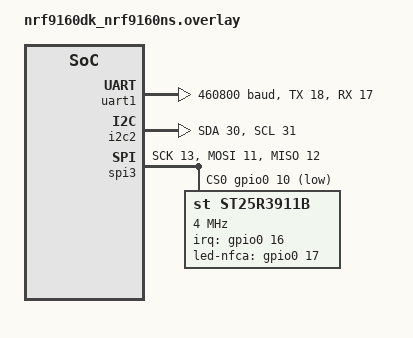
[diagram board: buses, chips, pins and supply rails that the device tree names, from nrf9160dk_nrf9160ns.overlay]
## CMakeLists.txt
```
cmake_minimum_required(VERSION 3.13.1)

find_package(Zephyr REQUIRED HINTS $ENV{ZEPHYR_BASE})
project(NONE)

target_sources(app PRIVATE
	src/main.c
	src/gw_nfc.c
	src/gw_display_shield.c
	src/gw_display_mcp23017.c
	../common/slip.c
	../common/mqtt_serial.c
	../common/uart_simple.c)

target_include_directories(app PRIVATE include
	../common)
```

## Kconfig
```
menu "BTM gateway"

config MQTT_USER
	string "Broker username"

config MQTT_PW
	string "Broker password"

config MQTT_PUB_TOPIC
	string "Gateway publishing topic"

config MQTT_SUB_TOPIC
	string "Gateway subscription topic"

config MQTT_CLIENT_ID
	string "Client ID of the gateway"

config MQTT_BROKER_HOSTNAME
	string "Broker hostname"

config MQTT_BROKER_PORT
	int "Broker port"

config MQTT_MESSAGE_BUFFER_SIZE
	int "MQTT message buffer size"
	default 128

config MQTT_PAYLOAD_BUFFER_SIZE
	int "MQTT payload buffer size"
	default 128

config MQTT_TLS_SEC_TAG
	int "TLS credentials security tag"
	default 24

config MQTT_TLS_SESSION_CACHING
	bool "Enable TLS session caching"

config MQTT_TLS_PEER_VERIFY
	int "Set peer verification level"
	default 2
	help
		Set to 0 for VERIFY_NONE, 1 for VERIFY_OPTIONAL, and 2 for
		VERIFY_REQUIRED.

endmenu

menu "Zephyr Kernel"
source "Kconfig.zephyr"
endmenu
```

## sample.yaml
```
sample:
  name: BTM gateway 9160
tests:
  samples.mesh.gateway.nrf9160:
    build_only: true
    build_on_all: true
    platform_whitelist: nrf9160dk_nrf9160ns
    tags: ci_build
```

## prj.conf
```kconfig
# Networking
CONFIG_NETWORKING=y
CONFIG_NET_NATIVE=n
CONFIG_NET_SOCKETS_OFFLOAD=y
CONFIG_NET_SOCKETS=y
CONFIG_NET_SOCKETS_POSIX_NAMES=y

# LTE link control
CONFIG_LTE_LINK_CONTROL=y
CONFIG_LTE_AUTO_INIT_AND_CONNECT=n

# BSD library
CONFIG_BSD_LIBRARY=y

# Display
CONFIG_I2C=y
CONFIG_I2C_2=y

# NFC
CONFIG_POLL=y
CONFIG_ASSERT=y
CONFIG_ASSERT_LEVEL=2
CONFIG_SPI=y
CONFIG_SPI_3=y
CONFIG_ST25R3911B_LIB=y
CONFIG_NFC_NDEF=y
CONFIG_NFC_NDEF_RECORD=y
CONFIG_NFC_NDEF_MSG=y
CONFIG_NFC_NDEF_PARSER=y
CONFIG_NFC_NDEF_LE_OOB_REC_PARSER=y
CONFIG_NFC_T2T_PARSER=y
CONFIG_NFC_T4T_HL_PROCEDURE=y
CONFIG_NFC_NDEF_CH_PARSER=y

# MQTT
CONFIG_MQTT_LIB=y
CONFIG_MQTT_LIB_TLS=y
CONFIG_MQTT_CLEAN_SESSION=y
CONFIG_MQTT_MESSAGE_BUFFER_SIZE=256
CONFIG_MQTT_PAYLOAD_BUFFER_SIZE=256
CONFIG_MQTT_PUB_TOPIC="anders/pub/"
CONFIG_MQTT_SUB_TOPIC="btm/set/#"
CONFIG_MQTT_CLIENT_ID="anders"
CONFIG_MQTT_BROKER_HOSTNAME="hairdresser.cloudmqtt.com"
CONFIG_MQTT_BROKER_PORT=25749
CONFIG_MQTT_USER="user1"
CONFIG_MQTT_PW="anders"

# Modem key management for provisioning certificates
CONFIG_MODEM_KEY_MGMT=y

# Memory
CONFIG_MAIN_STACK_SIZE=4096
CONFIG_HEAP_MEM_POOL_SIZE=2048

# UART to nrf52840
CONFIG_SERIAL=y
CONFIG_UART_ASYNC_API=y
CONFIG_UART_INTERRUPT_DRIVEN=y

CONFIG_NET_BUF=y
```

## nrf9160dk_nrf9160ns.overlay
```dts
&uart1 {
	compatible = "nordic,nrf-uarte";
	current-speed = <460800>;
	status = "okay";
	hw-flow-control;
	tx-pin = <18>;
	rx-pin = <17>;
	rts-pin = <21>;
	cts-pin = <19>;
};

&i2c2 {
	status = "okay";
	sda-pin = <30>;
	scl-pin = <31>;
};

&spi3 {
	status = "okay";
	sck-pin = <13>;
	mosi-pin = <11>;
	miso-pin = <12>;
	cs-gpios = <&gpio0 10 GPIO_ACTIVE_LOW>;

	st25r3911b@0 {
		label = "ST25R3911B";
		compatible = "st,st25r3911b";
		reg = <0>;
		spi-max-frequency = <4000000>;
		irq-gpios = <&gpio0 16 0>;
		led-nfca-gpios = <&gpio0 17 0>;
	};
};
```

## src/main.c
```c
#include <zephyr.h>
#include <stdio.h>
#include <string.h>
#include <random/rand32.h>
#include <net/mqtt.h>
#include <net/socket.h>
#include <modem/lte_lc.h>
#if defined(CONFIG_MODEM_KEY_MGMT)
#include <modem/modem_key_mgmt.h>
#endif
#if defined(CONFIG_LWM2M_CARRIER)
#include <lwm2m_carrier.h>
#endif
#include "uart_simple.h"
#include "mqtt_serial.h"
#include "prov_conf_common.h"
#include "gw_nfc.h"
#include "gw_display_shield.h"

#include "certificates.h"

/* Forward declarations */
void mqtt_serial_rx_callback(struct net_buf *get_buf);
void prov_conf_rx_callback(struct net_buf *get_buf);

/* Provisioning and configuration serial channel */
static struct uart_channel_ctx prov_conf_serial_chan = {
	.channel_id = 2,
	.rx_cb = prov_conf_rx_callback,
};
/* MQTT serial channel */
static struct uart_channel_ctx mqtt_serial_chan = {
	.channel_id = 1,
	.rx_cb = mqtt_serial_rx_callback,
};
/* MQTT RX thread stack */
static K_THREAD_STACK_DEFINE(mqtt_rx_thread_stack, 1536);
/* MQTT RX thread context */
static struct k_thread mqtt_rx_thread_ctx;
/* MQTT RX buffer */
static uint8_t rx_buffer[CONFIG_MQTT_MESSAGE_BUFFER_SIZE];
/* MQTT TX buffer */
static uint8_t tx_buffer[CONFIG_MQTT_MESSAGE_BUFFER_SIZE];
/* MQTT client context */
static uint8_t payload_buf[CONFIG_MQTT_PAYLOAD_BUFFER_SIZE];
/* MQTT client context */
static struct mqtt_client client;
/* MQTT broker context */
static struct sockaddr_storage broker;
/* MQTT file descriptor */
static struct pollfd fds;
/* MQTT broker user */
struct mqtt_utf8 user = {
	.utf8 = CONFIG_MQTT_USER,
	.size = sizeof(CONFIG_MQTT_USER) - 1,
};
/* MQTT broker password */
struct mqtt_utf8 password = {
	.utf8 = CONFIG_MQTT_PW,
	.size = sizeof(CONFIG_MQTT_PW) - 1,
};

static int certificates_provision(void)
{
	int err = modem_key_mgmt_write(CONFIG_MQTT_TLS_SEC_TAG,
				       MODEM_KEY_MGMT_CRED_TYPE_CA_CHAIN,
				       CA_CERTIFICATE, strlen(CA_CERTIFICATE));

	if (err) {
		printk("Failed to provision certificate, Err: %d\n", err);
	} else {
		printk("Sucessfully Provisioned the certificate\n");
	}

	return err;
}

static int mqtt_serial_publish(const struct mqtt_publish_param *param,
			       uint8_t *data, size_t len)
{
	struct mqtt_publish_param out_param;

	out_param.message.topic.qos = param->message.topic.qos;
	out_param.message_id = param->message_id;
	out_param.dup_flag = param->dup_flag;
	out_param.retain_flag = param->retain_flag;
	out_param.message.topic.topic.size = param->message.topic.topic.size;
	out_param.message.topic.topic.utf8 = param->message.topic.topic.utf8;
	out_param.message.payload.len = len;
	out_param.message.payload.data = data;

	uint8_t out_buf[256];
	uint16_t msg_len;
	int err = mqtt_serial_msg_encode(&out_param, out_buf, sizeof(out_buf),
					 &msg_len);

	if (!err) {
		uart_simple_send(&mqtt_serial_chan, out_buf, msg_len);
	}

	return 0;
}

static int publish_get_payload(struct mqtt_client *c, size_t length)
{
	uint8_t *buf = payload_buf;
	uint8_t *end = buf + length;

	if (length > sizeof(payload_buf)) {
		return -EMSGSIZE;
	}

	while (buf < end) {
		int ret = mqtt_read_publish_payload(c, buf, end - buf);

		if (ret < 0) {
			int err;

			if (ret != -EAGAIN) {
				return ret;
			}

			printk("Failed to read MQTT payload, Err: %d\n", ret);

			err = poll(&fds, 1,
				   CONFIG_MQTT_KEEPALIVE * MSEC_PER_SEC);
			if (err > 0 && (fds.revents & POLLIN) == POLLIN) {
				continue;
			} else {
				return -EIO;
			}
		}

		if (ret == 0) {
			return -EIO;
		}

		buf += ret;
	}

	return 0;
}

void mqtt_evt_handler(struct mqtt_client *const c, const struct mqtt_evt *evt)
{
	int err;

	switch (evt->type) {
	case MQTT_EVT_CONNACK: {
		if (evt->result == 0) {
			printk("MQTT client connected!\n");

			struct mqtt_topic subscribe_topic = {
				.topic = { .utf8 = CONFIG_MQTT_SUB_TOPIC,
					   .size = strlen(
						   CONFIG_MQTT_SUB_TOPIC) },
				.qos = MQTT_QOS_1_AT_LEAST_ONCE
			};
			const struct mqtt_subscription_list subscription_list = {
				.list = &subscribe_topic,
				.list_count = 1,
				.message_id = 1234
			};

			mqtt_subscribe(&client, &subscription_list);
		}

		break;
	}

	case MQTT_EVT_PUBLISH: {
		const struct mqtt_publish_param *p = &evt->param.publish;

		err = publish_get_payload(c, p->message.payload.len);
		if (err >= 0) {
			mqtt_serial_publish(p, payload_buf,
					    p->message.payload.len);
		} else {
			printk("Failed to retrive on-air MQTT paiload, Err: %d\n",
			       err);

			err = mqtt_disconnect(c);
			if (err) {
				printk("Could not disconnect, Err %d\n", err);
			} else {
				printk("Disconnected from the MQTT client\n");
			}
		}
		break;
	}

	case MQTT_EVT_DISCONNECT:
	case MQTT_EVT_PUBACK:
	case MQTT_EVT_SUBACK:
	case MQTT_EVT_PINGRESP:
	default:
		if (evt->result != 0) {
			printk("A failure occored during MQTT event handling\n");
		}
		break;
	}
}

static int broker_init(void)
{
	int err;
	struct addrinfo *result;
	struct addrinfo *addr;
	struct addrinfo hints = { .ai_family = AF_INET,
				  .ai_socktype = SOCK_STREAM };

	err = getaddrinfo(CONFIG_MQTT_BROKER_HOSTNAME, NULL, &hints, &result);
	if (err) {
		printk("Failed to get the address info, Err: %d\n", err);
		return -ECHILD;
	}

	addr = result;

	/* Look for address of the broker. */
	while (addr != NULL) {
		if (addr->ai_addrlen == sizeof(struct sockaddr_in)) {
			struct sockaddr_in *broker4 =
				((struct sockaddr_in *)&broker);
			char ipv4_addr[NET_IPV4_ADDR_LEN];

			broker4->sin_addr.s_addr =
				((struct sockaddr_in *)addr->ai_addr)
					->sin_addr.s_addr;
			broker4->sin_family = AF_INET;
			broker4->sin_port = htons(CONFIG_MQTT_BROKER_PORT);

			inet_ntop(AF_INET, &broker4->sin_addr.s_addr, ipv4_addr,
				  sizeof(ipv4_addr));
			printk("IPv4 Address found %s\n", ipv4_addr);
			break;
		} else {
			printk("ai_addrlen = %u should be %u or %u\n",
			       (unsigned int)addr->ai_addrlen,
			       (unsigned int)sizeof(struct sockaddr_in),
			       (unsigned int)sizeof(struct sockaddr_in6));
		}

		addr = addr->ai_next;
	}

	freeaddrinfo(result);

	return err;
}

static int client_init(struct mqtt_client *client)
{
	int err;

	mqtt_client_init(client);

	err = broker_init();
	if (err) {
		printk("Failed to initialize broker connection\n");
		return err;
	}

	/* MQTT client configuration */
	client->broker = &broker;
	client->evt_cb = mqtt_evt_handler;
	client->client_id.utf8 = (uint8_t *)CONFIG_MQTT_CLIENT_ID;
	client->client_id.size = strlen(CONFIG_MQTT_CLIENT_ID);
	client->password = &password;
	client->user_name = &user;
	client->protocol_version = MQTT_VERSION_3_1_1;

	/* MQTT buffers configuration */
	client->rx_buf = rx_buffer;
	client->rx_buf_size = sizeof(rx_buffer);
	client->tx_buf = tx_buffer;
	client->tx_buf_size = sizeof(tx_buffer);

	/* MQTT transport configuration */
	struct mqtt_sec_config *tls_cfg = &(client->transport).tls.config;
	static sec_tag_t sec_tag_list[] = { CONFIG_MQTT_TLS_SEC_TAG };

	client->transport.type = MQTT_TRANSPORT_SECURE;
	tls_cfg->peer_verify = CONFIG_MQTT_TLS_PEER_VERIFY;
	tls_cfg->cipher_count = 0;
	tls_cfg->cipher_list = NULL;
	tls_cfg->sec_tag_count = ARRAY_SIZE(sec_tag_list);
	tls_cfg->sec_tag_list = sec_tag_list;
	tls_cfg->hostname = CONFIG_MQTT_BROKER_HOSTNAME;
	tls_cfg->session_cache = IS_ENABLED(CONFIG_MQTT_TLS_SESSION_CACHING) ?
					 TLS_SESSION_CACHE_ENABLED :
					 TLS_SESSION_CACHE_DISABLED;

	return err;
}

static void fds_init(struct mqtt_client *c)
{
	fds.fd = c->transport.tls.sock;
	fds.events = POLLIN;
}

static void modem_configure(void)
{
	int err;

	err = lte_lc_init_and_connect();
	__ASSERT(err == 0, "LTE link could not be established.");
	printk("LTE Link Connected!\n");
}

static void mqtt_rx_thread(void *p1, void *p2, void *p3)
{
	int err = 0;
	while (1) {
		err = poll(&fds, 1, mqtt_keepalive_time_left(&client));
		if (err < 0) {
			printk("ERROR: poll %d\n", errno);
			break;
		}

		err = mqtt_live(&client);
		if ((err != 0) && (err != -EAGAIN)) {
			printk("ERROR: mqtt_live %d\n", err);
			break;
		}

		if ((fds.revents & POLLIN) == POLLIN) {
			err = mqtt_input(&client);
			if (err != 0) {
				printk("ERROR: mqtt_input %d\n", err);
				break;
			}
		}

		if ((fds.revents & POLLERR) == POLLERR) {
			printk("POLLERR\n");
			break;
		}

		if ((fds.revents & POLLNVAL) == POLLNVAL) {
			printk("POLLNVAL\n");
			break;
		}
		k_yield();
	}

	printk("Disconnecting MQTT client...\n");

	err = mqtt_disconnect(&client);
	if (err) {
		printk("Could not disconnect MQTT client. Error: %d\n", err);
	}
}

static void mqtt_rx_thread_create(void)
{
	k_thread_create(&mqtt_rx_thread_ctx, mqtt_rx_thread_stack,
			K_THREAD_STACK_SIZEOF(mqtt_rx_thread_stack),
			mqtt_rx_thread, NULL, NULL, NULL, K_PRIO_COOP(6), 0,
			K_NO_WAIT);
	k_thread_name_set(&mqtt_rx_thread_ctx, "MQTT RX");
}

void mqtt_serial_rx_callback(struct net_buf *get_buf)
{
	struct mqtt_publish_param param;

	mqtt_serial_msg_decode(get_buf, &param);
	mqtt_publish(&client, &param);
}

K_SEM_DEFINE(sem_gw_system_state, 0, 1);
K_SEM_DEFINE(sem_choose_room, 0, 1);
K_SEM_DEFINE(sem_prov_link_active, 0, 1);
K_SEM_DEFINE(sem_get_unprov_dev_num, 0, 1);
K_SEM_DEFINE(sem_device_added, 0, 1);
K_SEM_DEFINE(sem_get_model_info, 0, 1);

enum gw_system_states {
	s_start = 0,
	s_idle,
	s_blink_dev,
	s_prov_conf_dev,
	s_nfc_start,
	s_nfc_stop,
};

const struct room_info rooms[] = {
	[0] = { .name = "Living room   ", .group_addr = BASE_GROUP_ADDR },
	[1] = { .name = "Kitchen       ", .group_addr = BASE_GROUP_ADDR + 1 },
	[2] = { .name = "Bedroom       ", .group_addr = BASE_GROUP_ADDR + 2 },
	[3] = { .name = "Bathroom      ", .group_addr = BASE_GROUP_ADDR + 3 },
	[4] = { .name = "Hallway       ", .group_addr = BASE_GROUP_ADDR + 4 }
};

static int gw_system_state = s_start;
static bool take_sem = true;

static uint8_t curr_but_pressed;
static uint8_t nfc_uuid[16];
static bool uuid_from_nfc;
static bool update_unprov_devs;
static uint8_t chosen_dev;
static uint8_t room_iterator;
static bool room_chosen;
static bool prov_link_active;
static uint8_t unprov_dev_num;
static struct model_info mod_inf;

static struct k_delayed_work button_work;

static void button_work_handler(struct k_work *work)
{
	uint8_t button_state;
	uint8_t serial_opcode;

	button_state = display_read_buttons();

	if ((button_state & BUTTON_UP) && (curr_but_pressed != BUTTON_UP)) {
		printk("BUTTON UP\n");
		curr_but_pressed = BUTTON_UP;
	} else if (button_state & BUTTON_DOWN &&
		   (curr_but_pressed != BUTTON_DOWN)) {
		printk("BUTTON DOWN\n");
		curr_but_pressed = BUTTON_DOWN;
	} else if (button_state & BUTTON_LEFT &&
		   (curr_but_pressed != BUTTON_LEFT)) {
		printk("BUTTON LEFT\n");
		curr_but_pressed = BUTTON_LEFT;

		if (gw_system_state == s_start || gw_system_state == s_idle) {
			gw_system_state = s_nfc_start;
			k_sem_give(&sem_gw_system_state);
		} else if (gw_system_state == s_blink_dev) {
			serial_opcode = oc_prov_link_active;
			uart_simple_send(&prov_conf_serial_chan, &serial_opcode,
					 1);
			k_sem_take(&sem_prov_link_active, K_SECONDS(3));

			if (!prov_link_active) {
				if (chosen_dev > 0) {
					chosen_dev--;
					k_sem_give(&sem_gw_system_state);
				}
			}
		} else if (gw_system_state == s_prov_conf_dev) {
			if (room_iterator > 0) {
				room_iterator--;
				k_sem_give(&sem_choose_room);
			}
		}
	} else if (button_state & BUTTON_RIGHT &&
		   (curr_but_pressed != BUTTON_RIGHT)) {
		printk("BUTTON RIGHT\n");
		curr_but_pressed = BUTTON_RIGHT;

		if (gw_system_state == s_nfc_start) {
			gw_system_state = s_nfc_stop;
			k_sem_give(&sem_gw_system_state);
		} else if (gw_system_state == s_blink_dev) {
			serial_opcode = oc_prov_link_active;
			uart_simple_send(&prov_conf_serial_chan, &serial_opcode,
					 1);
			k_sem_take(&sem_prov_link_active, K_SECONDS(3));

			if (!prov_link_active) {
				serial_opcode = oc_unprov_dev_num;
				uart_simple_send(&prov_conf_serial_chan,
						 &serial_opcode, 1);
				k_sem_take(&sem_get_unprov_dev_num,
					   K_SECONDS(3));

				if (chosen_dev < unprov_dev_num - 1) {
					chosen_dev++;
					k_sem_give(&sem_gw_system_state);
				}
			}
		} else if (gw_system_state == s_prov_conf_dev) {
			if (room_iterator <
			    (sizeof(rooms) / sizeof(rooms[0]) - 1)) {
				room_iterator++;
				k_sem_give(&sem_choose_room);
			}
		}
	} else if (button_state & BUTTON_SELECT &&
		   (curr_but_pressed != BUTTON_SELECT)) {
		printk("BUTTON SELECT\n");
		curr_but_pressed = BUTTON_SELECT;

		if (gw_system_state == s_start) {
			gw_system_state = s_idle;
			k_sem_give(&sem_gw_system_state);
		} else if (gw_system_state == s_idle) {
			serial_opcode = oc_unprov_dev_num;
			uart_simple_send(&prov_conf_serial_chan, &serial_opcode,
					 1);
			k_sem_take(&sem_get_unprov_dev_num, K_SECONDS(3));

			if (unprov_dev_num > 0) {
				gw_system_state = s_blink_dev;
				k_sem_give(&sem_gw_system_state);
			}
		} else if (gw_system_state == s_blink_dev) {
			serial_opcode = oc_prov_link_active;
			uart_simple_send(&prov_conf_serial_chan, &serial_opcode,
					 1);
			k_sem_take(&sem_prov_link_active, K_SECONDS(3));

			if (!prov_link_active) {
				gw_system_state = s_prov_conf_dev;
				k_sem_give(&sem_gw_system_state);
			}
		} else if (gw_system_state == s_prov_conf_dev) {
			room_chosen = true;
			k_sem_give(&sem_choose_room);
		}
	} else if (!button_state) {
		curr_but_pressed = 0;
	}

	k_delayed_work_submit(&button_work, K_MSEC(100));
}

static struct k_delayed_work unprov_devs_work;

static void unprov_devs_work_handler(struct k_work *work)
{
	uint8_t serial_opcode;

	serial_opcode = oc_unprov_dev_num;
	uart_simple_send(&prov_conf_serial_chan, &serial_opcode, 1);
	k_sem_take(&sem_get_unprov_dev_num, K_SECONDS(3));

	if (update_unprov_devs) {
		display_set_cursor(0, 0);
		display_write_number(unprov_dev_num);
	}

	k_delayed_work_submit(&unprov_devs_work, K_MSEC(500));
}

void nfc_rx(struct gw_nfc_rx_data data)
{
	if (data.length == 16 && gw_system_state == s_nfc_start) {
		memcpy(nfc_uuid, data.value, 16);
		uuid_from_nfc = true;

		gw_system_state = s_prov_conf_dev;
		k_sem_give(&sem_gw_system_state);
	}
}

struct gw_nfc_cb nfc_cb = { .rx = nfc_rx };

void prov_conf_rx_callback(struct net_buf *get_buf)
{
	uint8_t opcode = net_buf_pull_u8(get_buf);

	if (opcode == oc_prov_link_active) {
		prov_link_active = (bool)net_buf_pull_u8(get_buf);
		k_sem_give(&sem_prov_link_active);
	} else if (opcode == oc_unprov_dev_num) {
		unprov_dev_num = net_buf_pull_u8(get_buf);
		k_sem_give(&sem_get_unprov_dev_num);
	} else if (opcode == oc_device_added) {
		k_sem_give(&sem_device_added);
	} else if (opcode == oc_get_model_info) {
		mod_inf.srv_count = net_buf_pull_le16(get_buf);
		mod_inf.cli_count = net_buf_pull_le16(get_buf);
		k_sem_give(&sem_get_model_info);
	}
}

void main(void)
{
	int err = 0;
	uint8_t serial_message[20];

	printk("MQTT bridge nrf9160 started\n");

	display_shield_init();
	display_set_cursor(0, 0);
	display_write_string("Connecting to");
	display_set_cursor(0, 1);
	display_write_string("server...");

	certificates_provision();
	modem_configure();

	err |= client_init(&client);
	err |= mqtt_connect(&client);
	fds_init(&client);

	if (err != 0) {
		printk("MQTT initialization failed\n");
		return;
	}

	uart_simple_init(NULL);
	uart_simple_channel_create(&mqtt_serial_chan);
	uart_simple_channel_create(&prov_conf_serial_chan);

	mqtt_rx_thread_create();

	gw_nfc_register_cb(&nfc_cb);
	gw_nfc_init();

	k_delayed_work_init(&button_work, button_work_handler);
	k_delayed_work_submit(&button_work, K_NO_WAIT);

	k_delayed_work_init(&unprov_devs_work, unprov_devs_work_handler);

	display_set_cursor(0, 0);
	display_write_string("BT Mesh Gateway");
	display_set_cursor(0, 1);
	display_write_string("Press SELECT");

	while (1) {
		if (take_sem) {
			k_sem_take(&sem_gw_system_state, K_FOREVER);
		}

		take_sem = true;

		if (gw_system_state == s_idle) {
			update_unprov_devs = false;

			display_clear();
			display_set_cursor(4, 0);
			display_write_string("unprov devs");
			display_set_cursor(0, 1);
			display_write_string("<- NFC or SELECT");
			update_unprov_devs = true;
			k_delayed_work_submit(&unprov_devs_work, K_NO_WAIT);

		} else if (gw_system_state == s_blink_dev) {
			update_unprov_devs = false;

			display_clear();
			display_set_cursor(4, 0);
			display_write_string("unprov devs");
			display_set_cursor(0, 1);
			display_write_string("Blinking dev ");
			display_write_number(chosen_dev);

			serial_message[0] = oc_blink_device;
			serial_message[1] = chosen_dev;
			uart_simple_send(&prov_conf_serial_chan, serial_message,
					 2);

			update_unprov_devs = true;
			k_delayed_work_submit(&unprov_devs_work, K_NO_WAIT);

		} else if (gw_system_state == s_prov_conf_dev) {
			k_delayed_work_cancel(&unprov_devs_work);
			update_unprov_devs = false;

			display_clear();
			display_set_cursor(0, 0);
			display_write_string("Provisioning...");

			if (uuid_from_nfc) {
				serial_message[0] = oc_provision_device;
				serial_message[1] = 0xff;
				memcpy(&serial_message[2], nfc_uuid, 16);
				uart_simple_send(&prov_conf_serial_chan,
						 serial_message, 18);

				gw_nfc_stop();
				uuid_from_nfc = false;
			} else {
				serial_message[0] = oc_provision_device;
				serial_message[1] = chosen_dev;
				uart_simple_send(&prov_conf_serial_chan,
						 serial_message, 2);
			}

			k_sem_take(&sem_device_added, K_SECONDS(10));

			serial_message[0] = oc_get_model_info;
			uart_simple_send(&prov_conf_serial_chan, serial_message,
					 1);
			k_sem_take(&sem_get_model_info, K_SECONDS(10));

			printk("Server count: %d - Client count: %d\n",
			       mod_inf.srv_count, mod_inf.cli_count);

			room_iterator = 0;

			for (int i = 0; i < mod_inf.srv_count; i++) {
				room_chosen = false;
				display_clear();
				display_set_cursor(0, 0);
				display_write_string("Light ");
				display_write_number(i);
				while (!room_chosen) {
					display_set_cursor(0, 1);
					display_write_string(
						rooms[room_iterator].name);
					k_sem_take(&sem_choose_room, K_FOREVER);
				}

				serial_message[0] = oc_configure_server;
				serial_message[1] = i;
				serial_message[2] =
					rooms[room_iterator].group_addr >> 8;
				serial_message[3] =
					rooms[room_iterator].group_addr &
					0x00ff;
				uart_simple_send(&prov_conf_serial_chan,
						 serial_message, 4);
			}

			for (int i = 0; i < mod_inf.cli_count; i++) {
				room_chosen = false;
				display_clear();
				display_set_cursor(0, 0);
				display_write_string("Light Switch ");
				display_write_number(i);
				while (!room_chosen) {
					display_set_cursor(0, 1);
					display_write_string(
						rooms[room_iterator].name);
					k_sem_take(&sem_choose_room, K_FOREVER);
				}

				serial_message[0] = oc_configure_client;
				serial_message[1] = i;
				serial_message[2] =
					rooms[room_iterator].group_addr >> 8;
				serial_message[3] =
					rooms[room_iterator].group_addr &
					0x00ff;
				uart_simple_send(&prov_conf_serial_chan,
						 serial_message, 4);
			}

			gw_system_state = s_idle;
			take_sem = false;
		} else if (gw_system_state == s_nfc_start) {
			k_delayed_work_cancel(&unprov_devs_work);
			update_unprov_devs = false;

			display_clear();
			display_set_cursor(0, 0);
			display_write_string("Scanning NFC...");
			display_set_cursor(0, 1);
			display_write_string("-> for NFC off");

			gw_nfc_start();
		} else if (gw_system_state == s_nfc_stop) {
			gw_nfc_stop();

			gw_system_state = s_idle;
			take_sem = false;
		}
	}
}
```

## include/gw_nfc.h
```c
#ifndef GW_NFC_H__
#define GW_NFC_H__

#include <bluetooth/bluetooth.h>

#ifdef __cplusplus
extern "C" {
#endif

struct gw_nfc_rx_data {
    const uint8_t *value;
    uint16_t length;
};

struct gw_nfc_cb {
	void (*rx)(struct gw_nfc_rx_data);
};

int gw_nfc_init(void);

void gw_nfc_register_cb(struct gw_nfc_cb *cb);

int gw_nfc_start(void);

int gw_nfc_stop(void);

#ifdef __cplusplus
}
#endif

#endif /* GW_NFC_H__ */
```

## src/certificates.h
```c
/** CA certificate for hairdresser.cloudmqtt.com. */
#define CA_CERTIFICATE \
	"-----BEGIN CERTIFICATE-----\n" \
	"MIIF3jCCA8agAwIBAgIQAf1tMPyjylGoG7xkDjUDLTANBgkqhkiG9w0BAQwFADCB\n" \
	"iDELMAkGA1UEBhMCVVMxEzARBgNVBAgTCk5ldyBKZXJzZXkxFDASBgNVBAcTC0pl\n" \
	"cnNleSBDaXR5MR4wHAYDVQQKExVUaGUgVVNFUlRSVVNUIE5ldHdvcmsxLjAsBgNV\n" \
	"BAMTJVVTRVJUcnVzdCBSU0EgQ2VydGlmaWNhdGlvbiBBdXRob3JpdHkwHhcNMTAw\n" \
	"MjAxMDAwMDAwWhcNMzgwMTE4MjM1OTU5WjCBiDELMAkGA1UEBhMCVVMxEzARBgNV\n" \
	"BAgTCk5ldyBKZXJzZXkxFDASBgNVBAcTC0plcnNleSBDaXR5MR4wHAYDVQQKExVU\n" \
	"aGUgVVNFUlRSVVNUIE5ldHdvcmsxLjAsBgNVBAMTJVVTRVJUcnVzdCBSU0EgQ2Vy\n" \
	"dGlmaWNhdGlvbiBBdXRob3JpdHkwggIiMA0GCSqGSIb3DQEBAQUAA4ICDwAwggIK\n" \
	"AoICAQCAEmUXNg7D2wiz0KxXDXbtzSfTTK1Qg2HiqiBNCS1kCdzOiZ/MPans9s/B\n" \
	"3PHTsdZ7NygRK0faOca8Ohm0X6a9fZ2jY0K2dvKpOyuR+OJv0OwWIJAJPuLodMkY\n" \
	"tJHUYmTbf6MG8YgYapAiPLz+E/CHFHv25B+O1ORRxhFnRghRy4YUVD+8M/5+bJz/\n" \
	"Fp0YvVGONaanZshyZ9shZrHUm3gDwFA66Mzw3LyeTP6vBZY1H1dat//O+T23LLb2\n" \
	"VN3I5xI6Ta5MirdcmrS3ID3KfyI0rn47aGYBROcBTkZTmzNg95S+UzeQc0PzMsNT\n" \
	"79uq/nROacdrjGCT3sTHDN/hMq7MkztReJVni+49Vv4M0GkPGw/zJSZrM233bkf6\n" \
	"c0Plfg6lZrEpfDKEY1WJxA3Bk1QwGROs0303p+tdOmw1XNtB1xLaqUkL39iAigmT\n" \
	"Yo61Zs8liM2EuLE/pDkP2QKe6xJMlXzzawWpXhaDzLhn4ugTncxbgtNMs+1b/97l\n" \
	"c6wjOy0AvzVVdAlJ2ElYGn+SNuZRkg7zJn0cTRe8yexDJtC/QV9AqURE9JnnV4ee\n" \
	"UB9XVKg+/XRjL7FQZQnmWEIuQxpMtPAlR1n6BB6T1CZGSlCBst6+eLf8ZxXhyVeE\n" \
	"Hg9j1uliutZfVS7qXMYoCAQlObgOK6nyTJccBz8NUvXt7y+CDwIDAQABo0IwQDAd\n" \
	"BgNVHQ4EFgQUU3m/WqorSs9UgOHYm8Cd8rIDZsswDgYDVR0PAQH/BAQDAgEGMA8G\n" \
	"A1UdEwEB/wQFMAMBAf8wDQYJKoZIhvcNAQEMBQADggIBAFzUfA3P9wF9QZllDHPF\n" \
	"Up/L+M+ZBn8b2kMVn54CVVeWFPFSPCeHlCjtHzoBN6J2/FNQwISbxmtOuowhT6KO\n" \
	"VWKR82kV2LyI48SqC/3vqOlLVSoGIG1VeCkZ7l8wXEskEVX/JJpuXior7gtNn3/3\n" \
	"ATiUFJVDBwn7YKnuHKsSjKCaXqeYalltiz8I+8jRRa8YFWSQEg9zKC7F4iRO/Fjs\n" \
	"8PRF/iKz6y+O0tlFYQXBl2+odnKPi4w2r78NBc5xjeambx9spnFixdjQg3IM8WcR\n" \
	"iQycE0xyNN+81XHfqnHd4blsjDwSXWXavVcStkNr/+XeTWYRUc+ZruwXtuhxkYze\n" \
	"Sf7dNXGiFSeUHM9h4ya7b6NnJSFd5t0dCy5oGzuCr+yDZ4XUmFF0sbmZgIn/f3gZ\n" \
	"XHlKYC6SQK5MNyosycdiyA5d9zZbyuAlJQG03RoHnHcAP9Dc1ew91Pq7P8yF1m9/\n" \
	"qS3fuQL39ZeatTXaw2ewh0qpKJ4jjv9cJ2vhsE/zB+4ALtRZh8tSQZXq9EfX7mRB\n" \
	"VXyNWQKV3WKdwrnuWih0hKWbt5DHDAff9Yk2dDLWKMGwsAvgnEzDHNb842m1R0aB\n" \
	"L6KCq9NjRHDEjf8tM7qtj3u1cIiuPhnPQCjY/MiQu12ZIvVS5ljFH4gxQ+6IHdfG\n" \
	"jjxDah2nGN59PRbxYvnKkKj9\n" \
	"-----END CERTIFICATE-----\n"
```

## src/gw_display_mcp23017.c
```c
/***************************************************
  This is a library for the MCP23017 i2c port expander

  These displays use I2C to communicate, 2 pins are required to
  interface
  Adafruit invests time and resources providing this open source code,
  please support Adafruit and open-source hardware by purchasing
  products from Adafruit!

  Written by Limor Fried/Ladyada for Adafruit Industries.
  BSD license, all text above must be included in any redistribution
 ****************************************************/

#include <zephyr.h>
#include <drivers/i2c.h>
#include "gw_display_mcp23017.h"

struct device *i2c_dev;

void mcp23017_init(void)
{
	uint8_t reset_a_inputs[2] = { MCP23017_IODIRA, 0xFF };
	uint8_t reset_b_inputs[2] = { MCP23017_IODIRB, 0xFF };

	i2c_dev = device_get_binding(DT_PROP(DT_NODELABEL(i2c2), label));

	if (i2c_dev == NULL) {
		printk("Error initiating I2C device\n");
		return;
	}

	i2c_write(i2c_dev, reset_a_inputs, 2, MCP23017_ADDRESS);
	i2c_write(i2c_dev, reset_b_inputs, 2, MCP23017_ADDRESS);
}

void mcp23017_pin_configure(uint8_t p, uint8_t d)
{
	uint8_t iodir;
	uint8_t iodiraddr;
	uint8_t buf[2];

	if (p > 15) {
		return;
	}

	if (p < 8) {
		iodiraddr = MCP23017_IODIRA;
	} else {
		iodiraddr = MCP23017_IODIRB;
		p -= 8;
	}

	i2c_write_read(i2c_dev, MCP23017_ADDRESS, &iodiraddr, 1, &iodir, 1);

	if (d == INPUT) {
		iodir |= 1 << p;
	} else {
		iodir &= ~(1 << p);
	}

	buf[0] = iodiraddr;
	buf[1] = iodir;
	i2c_write(i2c_dev, buf, 2, MCP23017_ADDRESS);
}

uint16_t mcp23017_read_gpio_ab()
{
	uint8_t wr_buf = MCP23017_GPIOA;
	uint8_t rd_buf[2];

	i2c_write_read(i2c_dev, MCP23017_ADDRESS, &wr_buf, 1, rd_buf, 2);

	return rd_buf[1] <<= 8 | rd_buf[0];
}

void mcp23017_write_gpio_ab(uint16_t ba)
{
	uint8_t buf[3];

	buf[0] = MCP23017_GPIOA;
	buf[1] = (ba & 0xFF);
	buf[2] = (ba >> 8);
	i2c_write(i2c_dev, buf, 3, MCP23017_ADDRESS);
}

void mcp23017_write_pin(uint8_t p, uint8_t d)
{
	uint8_t gpio;
	uint8_t gpioaddr, olataddr;
	uint8_t buf[2];

	if (p > 15)
		return;

	if (p < 8) {
		olataddr = MCP23017_OLATA;
		gpioaddr = MCP23017_GPIOA;
	} else {
		olataddr = MCP23017_OLATB;
		gpioaddr = MCP23017_GPIOB;
		p -= 8;
	}

	/* Read the current GPIO output latches */
	i2c_write_read(i2c_dev, MCP23017_ADDRESS, &olataddr, 1, &gpio, 1);

	if (d == HIGH) {
		gpio |= 1 << p;
	} else {
		gpio &= ~(1 << p);
	}

	buf[0] = gpioaddr;
	buf[1] = gpio;
	i2c_write(i2c_dev, buf, 2, MCP23017_ADDRESS);
}

void mcp23017_pull_up(uint8_t p, uint8_t d)
{
	uint8_t gppu;
	uint8_t gppuaddr;
	uint8_t buf[2];

	if (p > 15)
		return;

	if (p < 8)
		gppuaddr = MCP23017_GPPUA;
	else {
		gppuaddr = MCP23017_GPPUB;
		p -= 8;
	}

	i2c_write_read(i2c_dev, MCP23017_ADDRESS, &gppuaddr, 1, &gppu, 1);

	if (d == HIGH) {
		gppu |= 1 << p;
	} else {
		gppu &= ~(1 << p);
	}

	buf[0] = gppuaddr;
	buf[1] = gppu;
	i2c_write(i2c_dev, buf, 2, MCP23017_ADDRESS);
}

int mcp23017_read_pin(uint8_t p, uint8_t *ret)
{
	uint8_t gpioaddr;
	uint8_t rd_buf = 0;

	if (p > 15)
		return -1;

	if (p < 8)
		gpioaddr = MCP23017_GPIOA;
	else {
		gpioaddr = MCP23017_GPIOB;
		p -= 8;
	}

	i2c_write_read(i2c_dev, MCP23017_ADDRESS, &gpioaddr, 1, &rd_buf, 1);

	*ret = (rd_buf >> p) & 0x1;

	return 0;
}
```

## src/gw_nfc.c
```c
/*
 * Copyright (c) 2020 Nordic Semiconductor ASA
 *
 * SPDX-License-Identifier: LicenseRef-BSD-5-Clause-Nordic
 */

#include <zephyr/types.h>
#include <stddef.h>
#include <stdbool.h>
#include <string.h>
#include <zephyr.h>
#include <sys/printk.h>
#include <st25r3911b_nfca.h>
#include <nfc/ndef/msg_parser.h>
#include <nfc/ndef/le_oob_rec_parser.h>
#include <nfc/t2t/parser.h>
#include <nfc/t4t/ndef_file.h>
#include <nfc/t4t/isodep.h>
#include <nfc/t4t/hl_procedure.h>
#include <nfc/ndef/ch_rec_parser.h>
#include <sys/byteorder.h>
#include "gw_nfc.h"

#define NFC_STACKSIZE 1024
#define NFC_PRIORITY 7

static k_tid_t nfc_tid;
static struct k_thread nfc_thread_data;
K_THREAD_STACK_DEFINE(nfc_stack_area, NFC_STACKSIZE);

#define NFCA_BD 128
#define BITS_IN_BYTE 8
#define MAX_TLV_BLOCKS 10
#define MAX_NDEF_RECORDS 10
#define NFCA_T2T_BUFFER_SIZE 1024
#define NFCA_LAST_BIT_MASK 0x80
#define NFCA_FDT_ALIGN_84 84
#define NFCA_FDT_ALIGN_20 20

#define NFC_T2T_READ_CMD 0x30
#define NFC_T2T_READ_CMD_LEN 0x02

#define NFC_T4T_ISODEP_FSD 256
#define NFC_T4T_ISODEP_RX_DATA_MAX_SIZE 1024
#define NFC_T4T_APDU_MAX_SIZE 1024

#define NFC_NDEF_REC_PARSER_BUFF_SIZE 128

#define NFC_TX_DATA_LEN NFC_T4T_ISODEP_FSD
#define NFC_RX_DATA_LEN NFC_T4T_ISODEP_FSD

#define T2T_MAX_DATA_EXCHANGE 16
#define TAG_TYPE_2_DATA_AREA_MULTIPLICATOR 8
#define TAG_TYPE_2_DATA_AREA_SIZE_OFFSET (NFC_T2T_CC_BLOCK_OFFSET + 2)
#define TAG_TYPE_2_BLOCKS_PER_EXCHANGE                                         \
	(T2T_MAX_DATA_EXCHANGE / NFC_T2T_BLOCK_SIZE)

#define TRANSMIT_DELAY 3000
#define ALL_REQ_DELAY 2000

static uint8_t tx_data[NFC_TX_DATA_LEN];
static uint8_t rx_data[NFC_RX_DATA_LEN];

static struct k_poll_event events[ST25R3911B_NFCA_EVENT_CNT];
static struct k_delayed_work transmit_work;

NFC_T4T_CC_DESC_DEF(t4t_cc, MAX_TLV_BLOCKS);

static struct st25r3911b_nfca_buf tx_buf = { .data = tx_data,
					     .len = sizeof(tx_data) };

static const struct st25r3911b_nfca_buf rx_buf = { .data = rx_data,
						   .len = sizeof(rx_data) };

enum nfc_tag_type {
	NFC_TAG_TYPE_UNSUPPORTED = 0,
	NFC_TAG_TYPE_T2T,
	NFC_TAG_TYPE_T4T
};

enum t2t_state { T2T_IDLE, T2T_HEADER_READ, T2T_DATA_READ };

struct t2t_tag {
	enum t2t_state state;
	uint16_t data_bytes;
	uint8_t data[NFCA_T2T_BUFFER_SIZE];
};

struct t4t_tag {
	uint8_t data[NFC_T4T_ISODEP_RX_DATA_MAX_SIZE];
	uint8_t ndef[MAX_TLV_BLOCKS][NFC_T4T_APDU_MAX_SIZE];
	uint8_t tlv_index;
};

static enum nfc_tag_type tag_type;
static struct t2t_tag t2t;
static struct t4t_tag t4t;

static void nfc_tag_detect(bool all_request)
{
	int err;
	enum st25r3911b_nfca_detect_cmd cmd;

	tag_type = NFC_TAG_TYPE_UNSUPPORTED;

	cmd = all_request ? ST25R3911B_NFCA_DETECT_CMD_ALL_REQ :
			    ST25R3911B_NFCA_DETECT_CMD_SENS_REQ;

	err = st25r3911b_nfca_tag_detect(cmd);
	if (err) {
		printk("Tag detect error: %d\n", err);
	}
}

static int ftd_calculate(uint8_t *data, size_t len)
{
	uint8_t ftd_align;

	ftd_align = (data[len - 1] & NFCA_LAST_BIT_MASK) ? NFCA_FDT_ALIGN_84 :
							   NFCA_FDT_ALIGN_20;

	return len * NFCA_BD * BITS_IN_BYTE + ftd_align;
}

static int nfc_t2t_read_block_cmd_make(uint8_t *tx_data, size_t tx_data_size,
				       uint8_t block_num)
{
	if (!tx_data) {
		return -EINVAL;
	}

	if (tx_data_size < NFC_T2T_READ_CMD_LEN) {
		return -ENOMEM;
	}

	tx_data[0] = NFC_T2T_READ_CMD;
	tx_data[1] = block_num;

	return 0;
}

static int t2t_header_read(void)
{
	int err;
	int ftd;

	err = nfc_t2t_read_block_cmd_make(tx_data, sizeof(tx_data), 0);
	if (err) {
		return err;
	}

	tx_buf.data = tx_data;
	tx_buf.len = NFC_T2T_READ_CMD_LEN;

	ftd = ftd_calculate(tx_data, NFC_T2T_READ_CMD_LEN);

	t2t.state = T2T_HEADER_READ;

	err = st25r3911b_nfca_transfer_with_crc(&tx_buf, &rx_buf, ftd);

	return err;
}

static void
ndef_le_oob_rec_analyze(const struct nfc_ndef_record_desc *le_oob_rec_desc)
{
	int err;
	uint8_t desc_buf[NFC_NDEF_REC_PARSER_BUFF_SIZE];
	uint32_t desc_buf_len = sizeof(desc_buf);

	err = nfc_ndef_le_oob_rec_parse(le_oob_rec_desc, desc_buf,
					&desc_buf_len);
	if (err) {
		printk("Error during NDEF LE OOB Record parsing, err: %d\n",
		       err);
	} else {
		nfc_ndef_le_oob_rec_printout(
			(struct nfc_ndef_le_oob_rec_payload_desc *)desc_buf);
	}
}

static void
ndef_ch_rec_analyze(const struct nfc_ndef_record_desc *ndef_rec_desc)
{
	int err;
	uint8_t hs_buf[NFC_NDEF_REC_PARSER_BUFF_SIZE];
	uint32_t hs_buf_len = sizeof(hs_buf);
	uint8_t ac_buf[NFC_NDEF_REC_PARSER_BUFF_SIZE];
	uint32_t ac_buf_len = sizeof(ac_buf);
	struct nfc_ndef_ch_rec *ch_rec;
	struct nfc_ndef_ch_ac_rec *ac_rec;

	err = nfc_ndef_ch_rec_parse(ndef_rec_desc, hs_buf, &hs_buf_len);
	if (err) {
		printk("Error during parsing Handover Select record: %d\n",
		       err);
		return;
	}

	ch_rec = (struct nfc_ndef_ch_rec *)hs_buf;

	printk("Handover Select Record payload");

	nfc_ndef_ch_rec_printout(ch_rec);

	for (size_t i = 0; i < ch_rec->local_records->record_count; i++) {
		if (nfc_ndef_ch_ac_rec_check(
			    ch_rec->local_records->record[i])) {
			err = nfc_ndef_ch_ac_rec_parse(
				ch_rec->local_records->record[i], ac_buf,
				&ac_buf_len);
			if (err) {
				printk("Error during parsing AC record: %d\n",
				       err);
				return;
			}

			ac_rec = (struct nfc_ndef_ch_ac_rec *)ac_buf;

			nfc_ndef_ac_rec_printout(ac_rec);
		}
	}
}

static void ndef_rec_analyze(const struct nfc_ndef_record_desc *ndef_rec_desc)
{
	/* Match NDEF Record with specific NDEF Record parser. */
	if (nfc_ndef_ch_rec_check(ndef_rec_desc,
				  NFC_NDEF_CH_REC_TYPE_HANDOVER_SELECT)) {
		ndef_ch_rec_analyze(ndef_rec_desc);
	} else if (nfc_ndef_le_oob_rec_check(ndef_rec_desc)) {
		ndef_le_oob_rec_analyze(ndef_rec_desc);
	} else {
		/* Do nothing */
	}
}

static void ndef_data_analyze(const uint8_t *ndef_msg_buff, size_t nfc_data_len)
{
	int err;
	struct nfc_ndef_msg_desc *ndef_msg_desc;
	uint8_t desc_buf[NFC_NDEF_PARSER_REQIRED_MEMO_SIZE_CALC(
		MAX_NDEF_RECORDS)];
	size_t desc_buf_len = sizeof(desc_buf);

	err = nfc_ndef_msg_parse(desc_buf, &desc_buf_len, ndef_msg_buff,
				 &nfc_data_len);
	if (err) {
		printk("Error during parsing a NDEF message, err: %d\n", err);
	}

	ndef_msg_desc = (struct nfc_ndef_msg_desc *)desc_buf;

	nfc_ndef_msg_printout(ndef_msg_desc);

	for (size_t i = 0; i < ndef_msg_desc->record_count; i++) {
		ndef_rec_analyze(ndef_msg_desc->record[i]);
	}
}

static const struct gw_nfc_cb *gw_cb;

// *** Data here ***
static void t2t_data_read_complete(uint8_t *data)
{
	struct gw_nfc_rx_data gw_rx_data;
	int err;

	if (!data) {
		printk("No T2T data read\n");
		return;
	}

	/* Declaration of Type 2 Tag structure. */
	NFC_T2T_DESC_DEF(tag_data, MAX_TLV_BLOCKS);
	struct nfc_t2t *t2t = &NFC_T2T_DESC(tag_data);

	err = nfc_t2t_parse(t2t, data);
	if (err) {
		printk("Not enought memory to read whole tag. Printing what have been read\n");
	}

	nfc_t2t_printout(t2t);

	// TODO: Support other TLV counts than 1
	if (t2t->tlv_count == 1) {
		// TODO: Parse this better? Include the 2 byte code?
		gw_rx_data.value = t2t->tlv_block_array[0].value + 10;
		gw_rx_data.length = t2t->tlv_block_array[0].length - 10;
	} else {
		printk("TLV count is not 1\n");
	}

	struct nfc_t2t_tlv_block *tlv_block = t2t->tlv_block_array;

	for (size_t i = 0; i < t2t->tlv_count; i++) {
		if (tlv_block->tag == NFC_T2T_TLV_NDEF_MESSAGE) {
			ndef_data_analyze(tlv_block->value, tlv_block->length);
			tlv_block++;
		}
	}

	// err = st25r3911b_nfca_tag_sleep();
	// if (err) {
	// 	printk("Tag sleep error %d\n", err);
	// }

	// err = st25r3911b_nfca_field_off();
	// if (err) {
	// 	printk("Field off error %d\n", err);
	// 	return err;
	// }

	gw_cb->rx(gw_rx_data);

	k_delayed_work_submit(&transmit_work, K_MSEC(TRANSMIT_DELAY));
}

static int t2t_on_data_read(const uint8_t *data, size_t data_len,
			    void (*t2t_read_complete)(uint8_t *))
{
	int err;
	int ftd;
	uint8_t block_to_read;
	uint16_t offset = 0;
	static uint8_t block_num;

	block_to_read = t2t.data_bytes / NFC_T2T_BLOCK_SIZE;
	offset = block_num * NFC_T2T_BLOCK_SIZE;

	memcpy(t2t.data + offset, data, data_len);

	block_num += TAG_TYPE_2_BLOCKS_PER_EXCHANGE;

	if (block_num > block_to_read) {
		block_num = 0;
		t2t.state = T2T_IDLE;

		if (t2t_read_complete) {
			t2t_read_complete(t2t.data);
		}

		return 0;
	}

	err = nfc_t2t_read_block_cmd_make(tx_data, sizeof(tx_data), block_num);
	if (err) {
		return err;
	}

	tx_buf.data = tx_data;
	tx_buf.len = NFC_T2T_READ_CMD_LEN;

	ftd = ftd_calculate(tx_data, NFC_T2T_READ_CMD_LEN);

	err = st25r3911b_nfca_transfer_with_crc(&tx_buf, &rx_buf, ftd);

	return err;
}

static int on_t2t_transfer_complete(const uint8_t *data, size_t len)
{
	switch (t2t.state) {
	case T2T_HEADER_READ:
		t2t.data_bytes = TAG_TYPE_2_DATA_AREA_MULTIPLICATOR *
				 data[TAG_TYPE_2_DATA_AREA_SIZE_OFFSET];

		if ((t2t.data_bytes + NFC_T2T_FIRST_DATA_BLOCK_OFFSET) >
		    sizeof(t2t.data)) {
			return -ENOMEM;
		}

		t2t.state = T2T_DATA_READ;

		return t2t_on_data_read(data, len, t2t_data_read_complete);

	case T2T_DATA_READ:
		return t2t_on_data_read(data, len, t2t_data_read_complete);

	default:
		return -EFAULT;
	}
}

static void transfer_handler(struct k_work *work)
{
	nfc_tag_detect(false);
}

static void nfc_field_on(void)
{
	printk("NFC field on\n");

	nfc_tag_detect(false);
}

static void nfc_timeout(bool tag_sleep)
{
	if (tag_sleep) {
		printk("Tag sleep or no detected, sending ALL Request\n");
	} else if (tag_type == NFC_TAG_TYPE_T4T) {
		nfc_t4t_isodep_on_timeout();

		return;
	} else {
		/* Do nothing. */
	}

	/* Sleep will block processing loop. Accepted as it is short. */
	k_sleep(K_MSEC(ALL_REQ_DELAY));

	nfc_tag_detect(true);
}

static void nfc_field_off(void)
{
	printk("NFC field off\n");
}

static void tag_detected(const struct st25r3911b_nfca_sens_resp *sens_resp)
{
	printk("Anticollision: 0x%x Platform: 0x%x\n", sens_resp->anticollison,
	       sens_resp->platform_info);

	int err = st25r3911b_nfca_anticollision_start();

	if (err) {
		printk("Anticollision error: %d\n", err);
	}
}

static void ac_comp(const struct st25r3911b_nfca_tag_info *tag_info, int err)
{
	if (err) {
		printk("Error during anticollision avoidance\n");

		nfc_tag_detect(false);

		return;
	}

	printk("Tag info, type: %d\n", tag_info->type);

	if (tag_info->type == ST25R3911B_NFCA_TAG_TYPE_T2T) {
		printk("Type 2 Tag\n");

		tag_type = NFC_TAG_TYPE_T2T;

		err = t2t_header_read();
		if (err) {
			printk("Type 2 Tag data read error %d\n", err);
		}
	} else if (tag_info->type == ST25R3911B_NFCA_TAG_TYPE_T4T) {
		printk("Type 4 Tag\n");

		tag_type = NFC_TAG_TYPE_T4T;

		/* Send RATS command */
		err = nfc_t4t_isodep_rats_send(NFC_T4T_ISODEP_FSD_256, 0);
		if (err) {
			printk("Type 4 Tag RATS sending error %d\n", err);
		}
	} else {
		printk("Unsupported tag type\n");

		tag_type = NFC_TAG_TYPE_UNSUPPORTED;

		nfc_tag_detect(false);

		return;
	}
}

static void transfer_completed(const uint8_t *data, size_t len, int err)
{
	if (err) {
		printk("NFC Transfer error: %d\n", err);
		return;
	}

	switch (tag_type) {
	case NFC_TAG_TYPE_T2T:
		err = on_t2t_transfer_complete(data, len);
		if (err) {
			printk("NFC-A T2T read error: %d\n", err);
		}

		break;

	case NFC_TAG_TYPE_T4T:
		err = nfc_t4t_isodep_data_received(data, len, err);
		if (err) {
			printk("NFC-A T4T read error: %d\n", err);
		}

		break;

	default:
		break;
	}
}

static void tag_sleep(void)
{
	printk("Tag entered the Sleep state\n");
}

// *** Data ends up in this transfer_complete cb ***
static const struct st25r3911b_nfca_cb cb = { .field_on = nfc_field_on,
					      .field_off = nfc_field_off,
					      .tag_detected = tag_detected,
					      .anticollision_completed =
						      ac_comp,
					      .rx_timeout = nfc_timeout,
					      .transfer_completed =
						      transfer_completed,
					      .tag_sleep = tag_sleep };

static void t4t_isodep_selected(const struct nfc_t4t_isodep_tag *t4t_tag)
{
	int err;

	printk("NFC T4T selected\n");

	if ((t4t_tag->lp_divisor != 0) &&
	    (t4t_tag->lp_divisor != t4t_tag->pl_divisor)) {
		printk("Unsupported bitrate divisor by Reader/Writer\n");
	}

	err = nfc_t4t_hl_procedure_ndef_tag_app_select();
	if (err) {
		printk("NFC T4T app select err %d\n", err);
		return;
	}
}

static void t4t_isodep_error(int err)
{
	printk("ISO-DEP Protocol error %d\n", err);

	nfc_tag_detect(false);
}

static void t4t_isodep_data_send(uint8_t *data, size_t data_len, uint32_t ftd)
{
	int err;

	tx_buf.data = data;
	tx_buf.len = data_len;

	err = st25r3911b_nfca_transfer_with_crc(&tx_buf, &rx_buf, ftd);
	if (err) {
		printk("NFC T4T ISO-DEP transfer error: %d\n", err);
	}
}

static void t4t_isodep_received(const uint8_t *data, size_t data_len)
{
	int err;

	err = nfc_t4t_hl_procedure_on_data_received(data, data_len);
	if (err) {
		printk("NFC Type 4 Tag HL data received error: %d\n", err);
	}
}

static void t4t_isodep_deselected(void)
{
	st25r3911b_nfca_tag_sleep();

	k_delayed_work_submit(&transmit_work, K_MSEC(TRANSMIT_DELAY));
}

static const struct nfc_t4t_isodep_cb t4t_isodep_cb = {
	.selected = t4t_isodep_selected,
	.deselected = t4t_isodep_deselected,
	.error = t4t_isodep_error,
	.ready_to_send = t4t_isodep_data_send,
	.data_received = t4t_isodep_received
};

static void t4t_hl_selected(enum nfc_t4t_hl_procedure_select type)
{
	int err = 0;

	switch (type) {
	case NFC_T4T_HL_PROCEDURE_NDEF_APP_SELECT:
		printk("NFC T4T NDEF Application selected\n");

		err = nfc_t4t_hl_procedure_cc_select();
		if (err) {
			printk("NFC T4T Capability Container select error: %d\n",
			       err);
		}

		break;

	case NFC_T4T_HL_PROCEDURE_CC_SELECT:
		printk("NFC T4T Capability Container file selected\n");

		err = nfc_t4t_hl_procedure_cc_read(&NFC_T4T_CC_DESC(t4t_cc));
		if (err) {
			printk("Capability Container read error: %d\n", err);
		}

		break;

	case NFC_T4T_HL_PROCEDURE_NDEF_FILE_SELECT:
		printk("NFC T4T NDEF file selected\n");

		err = nfc_t4t_hl_procedure_ndef_read(&NFC_T4T_CC_DESC(t4t_cc),
						     t4t.ndef[t4t.tlv_index],
						     NFC_T4T_APDU_MAX_SIZE);
		if (err) {
			printk("NFC T4T NDEF file read error %d\n", err);
		}

		break;

	default:
		break;
	}

	if (err) {
		st25r3911b_nfca_tag_sleep();

		k_delayed_work_submit(&transmit_work, K_MSEC(TRANSMIT_DELAY));
	}
}

static void t4t_hl_cc_read(struct nfc_t4t_cc_file *cc)
{
	printk("NFC T4T Capability Container file read\n");

	for (size_t i = 0; i < cc->tlv_count; i++) {
		int err;
		struct nfc_t4t_tlv_block *tlv_block = &cc->tlv_block_array[i];

		if ((tlv_block->type ==
		     NFC_T4T_TLV_BLOCK_TYPE_NDEF_FILE_CONTROL_TLV) &&
		    (tlv_block->value.read_access ==
		     NFC_T4T_TLV_BLOCK_CONTROL_FILE_READ_ACCESS_GRANTED)) {
			err = nfc_t4t_hl_procedure_ndef_file_select(
				tlv_block->value.file_id);
			if (err) {
				printk("NFC T4T NDEF file select error: %d\n",
				       err);
			}

			return;
		}
	}

	printk("No NDEF File TLV in Capability Container");
}

static void t4t_hl_ndef_read(uint16_t file_id, const uint8_t *data, size_t len)
{
	int err;
	struct nfc_t4t_cc_file *cc;
	struct nfc_t4t_tlv_block *tlv_block;

	printk("NDEF file read, id: 0x%x\n", file_id);

	t4t.tlv_index++;
	cc = &NFC_T4T_CC_DESC(t4t_cc);

	for (size_t i = t4t.tlv_index; i < cc->tlv_count; i++) {
		tlv_block = &cc->tlv_block_array[i];

		if ((tlv_block->type ==
		     NFC_T4T_TLV_BLOCK_TYPE_NDEF_FILE_CONTROL_TLV) &&
		    (tlv_block->value.read_access ==
		     NFC_T4T_TLV_BLOCK_CONTROL_FILE_READ_ACCESS_GRANTED)) {
			err = nfc_t4t_hl_procedure_ndef_file_select(
				tlv_block->value.file_id);
			if (err) {
				printk("NFC T4T NDEF file select error: %d\n",
				       err);
			}

			return;
		}

		t4t.tlv_index++;
	}

	nfc_t4t_cc_file_printout(cc);

	tlv_block = cc->tlv_block_array;
	for (size_t i = 0; i < cc->tlv_count; i++) {
		if ((tlv_block[i].type ==
		     NFC_T4T_TLV_BLOCK_TYPE_NDEF_FILE_CONTROL_TLV) ||
		    (tlv_block[i].value.file.content != NULL)) {
			ndef_data_analyze(
				nfc_t4t_ndef_file_msg_get(
					tlv_block[i].value.file.content),
				nfc_t4t_ndef_file_msg_size_get(
					tlv_block[i].value.file.len));
		}
	}

	t4t.tlv_index = 0;

	err = nfc_t4t_isodep_tag_deselect();
	if (err) {
		printk("NFC T4T Deselect error: %d\n", err);
	}
}

static const struct nfc_t4t_hl_procedure_cb t4t_hl_procedure_cb = {
	.selected = t4t_hl_selected,
	.cc_read = t4t_hl_cc_read,
	.ndef_read = t4t_hl_ndef_read
};

static void gw_nfc_poll(void *p1, void *p2, void *p3)
{
	int err;

	while (true) {
		k_poll(events, ARRAY_SIZE(events), K_FOREVER);
		err = st25r3911b_nfca_process();
		if (err) {
			printk("NFC-A process failed, err: %d\n", err);
			return;
		}
	}
}

int gw_nfc_init(void)
{
	int err;

	printk("Initiating NFC TAG Reader\n");

	// *** Can be commented out ***
	nfc_t4t_hl_procedure_cb_register(&t4t_hl_procedure_cb);

	k_delayed_work_init(&transmit_work, transfer_handler);

	// *** Need this for st25r3911b_nfca_init() ***
	err = nfc_t4t_isodep_init(tx_data, sizeof(tx_data), t4t.data,
				  sizeof(t4t.data), &t4t_isodep_cb);
	if (err) {
		printk("NFC T4T ISO-DEP Protocol initialization failed err: %d\n",
		       err);
		return err;
	}

	// *** This is related to the t2t_data_read_complete() callback ***
	err = st25r3911b_nfca_init(events, ARRAY_SIZE(events), &cb);
	if (err) {
		printk("NFCA initialization failed err: %d\n", err);
		return err;
	}

	// ***  Ensure that the field is off from the start ***
	err = st25r3911b_nfca_field_off();
	if (err) {
		printk("Field off error %d\n", err);
	}

	// *** Creating a thread in sted of a while(1) in main ***
	nfc_tid = k_thread_create(&nfc_thread_data, nfc_stack_area,
				  K_THREAD_STACK_SIZEOF(nfc_stack_area),
				  gw_nfc_poll, NULL, NULL, NULL, NFC_PRIORITY,
				  0, K_NO_WAIT);

	return 0;
}

void gw_nfc_register_cb(struct gw_nfc_cb *cb)
{
	gw_cb = cb;
}

int gw_nfc_start(void)
{
	int err;

	err = st25r3911b_nfca_field_on();
	if (err) {
		printk("Field on error %d\n", err);
		return err;
	}

	return 0;
}

int gw_nfc_stop(void)
{
	int err;

	err = st25r3911b_nfca_field_off();
	if (err) {
		printk("Field off error %d\n", err);
		return err;
	}

	return 0;
}
```
